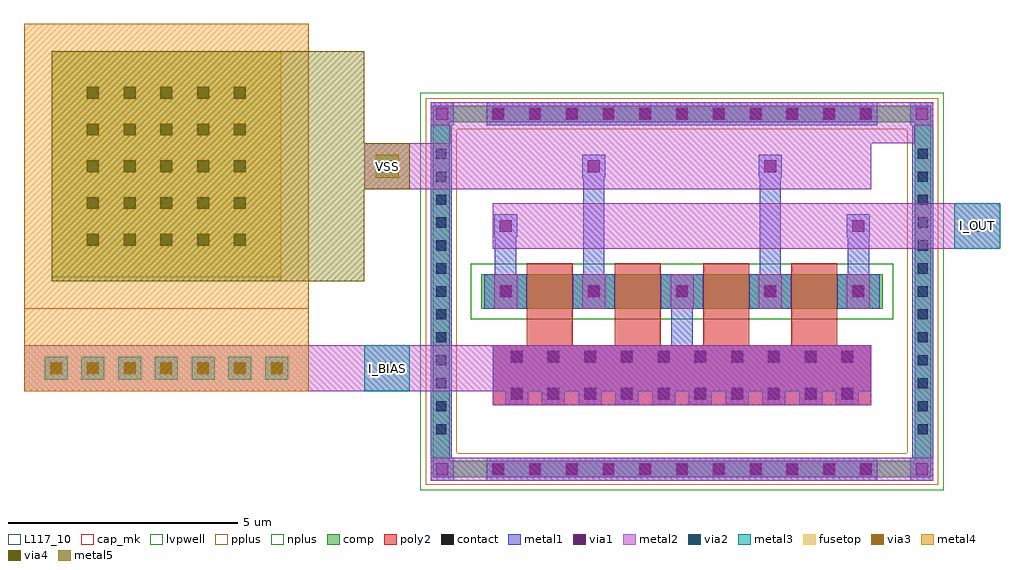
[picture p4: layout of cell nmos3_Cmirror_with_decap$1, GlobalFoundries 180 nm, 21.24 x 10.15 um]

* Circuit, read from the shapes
.subckt nmos3_Cmirror_with_decap$1 I_BIAS I_OUT VSS
XM1 VSS I_BIAS I_OUT VSS nfet_03v3 w=0.75u l=1u m=2
XM2 I_BIAS I_BIAS VSS VSS nfet_03v3 w=0.75u l=1u m=2
XC3 VSS I_BIAS cap_mim_2f0fF c_width=5u c_length=5u
.ends

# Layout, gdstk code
import gdstk
lib = gdstk.Library(unit=1e-6, precision=1e-09)
def R(c, l, rs):  # rectangles x0, y0, x1, y1
    for r in rs: c.add(gdstk.rectangle(r[:2], r[2:], *l))
def A(c, l, x, y, w, h, nx, ny, dx, dy):  # array of equal rectangles
    R(c, l, [(x+i*dx, y+j*dy, x+i*dx+w, y+j*dy+h) for i in range(nx) for j in range(ny)])
def P(c, l, *ps):  # polygons
    for p in ps: c.add(gdstk.Polygon(p, *l))
comp = (22, 0)
poly2 = (30, 0)
pplus = (31, 0)
nplus = (32, 0)
contact = (33, 0)
metal1 = (34, 0)
via1 = (35, 0)
metal2 = (36, 0)
via2 = (38, 0)
via3 = (40, 0)
via4 = (41, 0)
metal3 = (42, 0)
metal4 = (46, 0)
fusetop = (75, 0)
metal5 = (81, 0)
cap_mk = (117, 5)
L117_10 = (117, 10)
lvpwell = (204, 0)

cmirror_interdigitized_3 = lib.new_cell('cmirror_interdigitized$3$1')
A(cmirror_interdigitized_3, comp, -4.18, -4.045, 0.36, 0.36, 11, 2, 0.8, 7.73)
A(cmirror_interdigitized_3, comp, -5.42, -3.18, 0.36, 0.36, 1, 13, 0, 0.5)
A(cmirror_interdigitized_3, comp, 5.06, -3.18, 0.36, 0.36, 1, 13, 0, 0.5)
R(cmirror_interdigitized_3, comp, [(-4.18,-4.045,4.18,-3.685), (-5.42,-3.18,-5.06,3.18), (5.06,-3.18,5.42,3.18), (-4.37,-0.375,4.37,0.375), (-4.18,3.685,4.18,4.045)])
P(cmirror_interdigitized_3, comp, [(-5.42,-4.045),(-5.42,-3.685),(5.06,-3.685),(5.06,3.685),(-5.06,3.685),(-5.06,-3.685),(-5.42,-3.685),(-5.42,4.045),(5.42,4.045),(5.42,-4.045)])
A(cmirror_interdigitized_3, poly2, -3.78, -2.405, 0.36, 0.36, 10, 2, 0.8, 0.8)
A(cmirror_interdigitized_3, poly2, -3.38, -1.18, 1, 0.565, 4, 1, 1.92, 0)
A(cmirror_interdigitized_3, poly2, -3.38, -0.615, 1, 1.23, 4, 1, 1.92, 0)
R(cmirror_interdigitized_3, poly2, [(-4.12,-2.475,4.12,-1.175)])
P(cmirror_interdigitized_3, pplus, [(-5.58,-4.205),(-5.58,-3.525),(4.9,-3.525),(4.9,3.525),(-4.9,3.525),(-4.9,-3.525),(-5.58,-3.525),(-5.58,4.205),(5.58,4.205),(5.58,-4.205)])
R(cmirror_interdigitized_3, nplus, [(-4.6,-0.605,4.6,0.605)])
A(cmirror_interdigitized_3, contact, -4.11, -3.975, 0.22, 0.22, 11, 2, 0.8, 7.73)
A(cmirror_interdigitized_3, contact, -5.35, -3.11, 0.22, 0.22, 1, 13, 0, 0.5)
A(cmirror_interdigitized_3, contact, 5.13, -3.11, 0.22, 0.22, 1, 13, 0, 0.5)
A(cmirror_interdigitized_3, contact, -3.71, -2.335, 0.22, 0.22, 10, 2, 0.8, 0.8)
A(cmirror_interdigitized_3, contact, -3.95, -0.11, 0.22, 0.22, 5, 1, 1.92, 0)
A(cmirror_interdigitized_3, metal1, -4.25, -4.115, 0.5, 0.5, 11, 2, 0.8, 7.73)
A(cmirror_interdigitized_3, metal1, -5.47, -3.23, 0.46, 0.46, 1, 13, 0, 0.5)
A(cmirror_interdigitized_3, metal1, 5.01, -3.23, 0.46, 0.46, 1, 13, 0, 0.5)
A(cmirror_interdigitized_3, metal1, -3.85, -2.475, 0.5, 0.5, 10, 2, 0.8, 0.8)
A(cmirror_interdigitized_3, metal1, -4.3, -0.375, 0.92, 0.75, 5, 1, 1.92, 0)
A(cmirror_interdigitized_3, metal1, -4.07, -0.23, 0.46, 0.46, 5, 1, 1.92, 0)
R(cmirror_interdigitized_3, metal1, [(-5.47,-4.115,-4.97,-3.615), (-5.47,-4.115,-4.97,-3.615), (-5.47,-4.115,-5.01,-3.685), (-4.25,-4.115,4.25,-3.615), (4.97,-4.115,5.47,-3.615), (4.97,-4.115,5.47,-3.615), (5.01,-4.115,5.47,-3.685), (-5.47,-3.685,-5.01,3.685), (5.01,-3.685,5.47,3.685), (-4.12,-2.175,4.12,-1.175), (-0.23,-1.175,0.23,-0.375), (-4.09,-0.25,-3.59,0.25), (-4.09,-0.25,-3.59,0.25), (-2.17,-0.25,-1.67,0.25), (-2.17,-0.25,-1.67,0.25), (-0.25,-0.25,0.25,0.25), (-0.25,-0.25,0.25,0.25), (1.67,-0.25,2.17,0.25), (1.67,-0.25,2.17,0.25), (3.59,-0.25,4.09,0.25), (3.59,-0.25,4.09,0.25), (-4.07,0.375,-3.61,1.675), (-2.15,0.375,-1.69,2.975), (1.69,0.375,2.15,2.975), (3.61,0.375,4.07,1.675), (-4.09,1.175,-3.59,1.675), (3.59,1.175,4.09,1.675), (-2.17,2.475,-1.67,2.975), (1.67,2.475,2.17,2.975), (-5.47,3.615,-4.97,4.115), (-5.47,3.615,-4.97,4.115), (-4.25,3.615,4.25,4.115), (4.97,3.615,5.47,4.115), (4.97,3.615,5.47,4.115), (-5.47,3.685,-5.01,4.115), (5.01,3.685,5.47,4.115)])
A(cmirror_interdigitized_3, via1, -4.13, -3.995, 0.26, 0.26, 11, 2, 0.8, 7.73)
A(cmirror_interdigitized_3, via1, -3.73, -2.355, 0.26, 0.26, 10, 2, 0.8, 0.8)
A(cmirror_interdigitized_3, via1, -3.97, -0.13, 0.26, 0.26, 5, 1, 1.92, 0)
R(cmirror_interdigitized_3, via1, [(-5.35,-3.995,-5.09,-3.735), (5.09,-3.995,5.35,-3.735), (-3.97,1.295,-3.71,1.555), (3.71,1.295,3.97,1.555), (-2.05,2.595,-1.79,2.855), (1.79,2.595,2.05,2.855), (-5.35,3.735,-5.09,3.995), (5.09,3.735,5.35,3.995)])
A(cmirror_interdigitized_3, metal2, -4.25, -4.115, 0.5, 0.5, 11, 2, 0.8, 7.73)
A(cmirror_interdigitized_3, metal2, -3.85, -2.475, 0.5, 0.5, 10, 2, 0.8, 0.8)
A(cmirror_interdigitized_3, metal2, -4.09, -0.375, 0.5, 0.75, 5, 1, 1.92, 0)
A(cmirror_interdigitized_3, metal2, -4.09, -0.25, 0.5, 0.5, 5, 1, 1.92, 0)
R(cmirror_interdigitized_3, metal2, [(-5.47,-4.115,-4.97,-3.615), (-5.47,-4.115,-4.97,-3.615), (-5.47,-4.115,-5.06,-3.615), (-5.06,-4.115,5.06,-3.615), (4.97,-4.115,5.47,-3.615), (4.97,-4.115,5.47,-3.615), (5.06,-4.115,5.47,-3.615), (-4.12,-2.475,4.12,-1.175), (-4.12,-2.175,4.12,-1.175), (-4.12,0.925,4.12,1.925), (-4.09,1.175,-3.59,1.675), (3.59,1.175,4.09,1.675), (-4.12,2.225,4.12,3.225), (-2.17,2.475,-1.67,2.975), (1.67,2.475,2.17,2.975), (-5.06,3.225,5.06,4.115), (-5.47,3.615,-4.97,4.115), (-5.47,3.615,-4.97,4.115), (-5.47,3.615,-5.06,4.115), (-5.06,3.615,5.06,4.115), (4.97,3.615,5.47,4.115), (4.97,3.615,5.47,4.115), (5.06,3.615,5.47,4.115)])
R(cmirror_interdigitized_3, lvpwell, [(-5.7,-4.325,5.7,4.325)])

via_array_6f2c13fe_4_2 = lib.new_cell('via_array_6f2c13fe$4$2')
R(via_array_6f2c13fe_4_2, metal2, [(-0.5,-0.5,0.5,0.5), (-0.25,-0.25,0.25,0.25)])
R(via_array_6f2c13fe_4_2, via2, [(-0.13,-0.13,0.13,0.13)])
R(via_array_6f2c13fe_4_2, metal3, [(-0.5,-0.5,0.5,0.5), (-0.25,-0.25,0.25,0.25)])

via_array_6f2c13fe_5_2 = lib.new_cell('via_array_6f2c13fe$5$2')
R(via_array_6f2c13fe_5_2, metal2, [(-0.5,-0.5,0.5,0.5), (-0.25,-0.25,0.25,0.25)])
R(via_array_6f2c13fe_5_2, via2, [(-0.13,-0.13,0.13,0.13)])
R(via_array_6f2c13fe_5_2, metal3, [(-0.5,-0.5,0.5,0.5), (-0.25,-0.25,0.25,0.25)])

via_array_3a42d9f3_2_2 = lib.new_cell('via_array_3a42d9f3$2$2')
R(via_array_3a42d9f3_2_2, metal2, [(-0.5,-0.5,0.5,0.5), (-0.25,-0.25,0.25,0.25)])
R(via_array_3a42d9f3_2_2, via2, [(-0.13,-0.13,0.13,0.13)])
R(via_array_3a42d9f3_2_2, via3, [(-0.13,-0.13,0.13,0.13)])
R(via_array_3a42d9f3_2_2, via4, [(-0.13,-0.13,0.13,0.13)])
R(via_array_3a42d9f3_2_2, metal3, [(-0.25,-0.25,0.25,0.25)])
R(via_array_3a42d9f3_2_2, metal4, [(-0.25,-0.25,0.25,0.25)])
R(via_array_3a42d9f3_2_2, metal5, [(-0.5,-0.5,0.5,0.5), (-0.25,-0.25,0.25,0.25)])

straight_route_4b9f22a6_ = lib.new_cell('straight_route_4b9f22a6$1')
R(straight_route_4b9f22a6_, metal2, [(-6.92,-2.175,-4.12,-1.175)])

straight_route_40c7a050_ = lib.new_cell('straight_route_40c7a050$1')
R(straight_route_40c7a050_, metal2, [(-4.12,0.925,5.92,1.925)])

straight_route_8525d99d_ = lib.new_cell('straight_route_8525d99d$1')
R(straight_route_8525d99d_, metal2, [(-6.92,2.225,-4.12,3.225)])

unnamed_34e3354a = lib.new_cell('Unnamed_34e3354a')
A(unnamed_34e3354a, via4, -1.73, -1.73, 0.26, 0.26, 5, 5, 0.8, 0.8)
R(unnamed_34e3354a, metal4, [(-3.1,-3.1,3.1,3.1)])
R(unnamed_34e3354a, fusetop, [(-2.5,-2.5,2.5,2.5)])
A(unnamed_34e3354a, metal5, -1.85, -1.85, 0.5, 0.5, 5, 5, 0.8, 0.8)
R(unnamed_34e3354a, metal5, [(-2.5,-2.5,2.5,2.5)])
R(unnamed_34e3354a, cap_mk, [(-3.1,-3.1,3.1,3.1)])
R(unnamed_34e3354a, L117_10, [(-2.5,-2.5,2.5,-2.4)])

straight_route_d4788f62_ = lib.new_cell('straight_route_d4788f62$1')
R(straight_route_d4788f62_, metal5, [(-8.72,0.225,-6.92,5.225)])

l_route_b498a5d1_1 = lib.new_cell('L_route_b498a5d1$1')
A(l_route_b498a5d1_1, metal2, -13.87, -1.925, 0.5, 0.5, 7, 1, 0.8, 0)
R(l_route_b498a5d1_1, metal2, [(-14.32,-2.175,-6.92,-1.175), (-13.87,-1.925,-8.57,-1.425)])
A(l_route_b498a5d1_1, via2, -13.75, -1.805, 0.26, 0.26, 7, 1, 0.8, 0)
A(l_route_b498a5d1_1, via3, -13.75, -1.805, 0.26, 0.26, 7, 1, 0.8, 0)
A(l_route_b498a5d1_1, metal3, -13.87, -1.925, 0.5, 0.5, 7, 1, 0.8, 0)
A(l_route_b498a5d1_1, metal4, -13.87, -1.925, 0.5, 0.5, 7, 1, 0.8, 0)
R(l_route_b498a5d1_1, metal4, [(-14.32,-2.175,-8.12,-1.175), (-14.32,-2.175,-8.12,-0.375)])

nmos3_cmirror_with_decap = lib.new_cell('nmos3_Cmirror_with_decap$1')
nmos3_cmirror_with_decap.add(gdstk.Reference(cmirror_interdigitized_3, (0,0)))
nmos3_cmirror_with_decap.add(gdstk.Reference(via_array_6f2c13fe_4_2, (-6.42,-1.675)))
nmos3_cmirror_with_decap.add(gdstk.Reference(via_array_6f2c13fe_5_2, (6.42,1.425)))
nmos3_cmirror_with_decap.add(gdstk.Reference(via_array_3a42d9f3_2_2, (-6.42,2.725)))
nmos3_cmirror_with_decap.add(gdstk.Reference(straight_route_4b9f22a6_, (0,0)))
nmos3_cmirror_with_decap.add(gdstk.Reference(straight_route_40c7a050_, (0,0)))
nmos3_cmirror_with_decap.add(gdstk.Reference(straight_route_8525d99d_, (0,0)))
nmos3_cmirror_with_decap.add(gdstk.Reference(unnamed_34e3354a, (-11.22,2.725)))
nmos3_cmirror_with_decap.add(gdstk.Reference(straight_route_d4788f62_, (0,0)))
nmos3_cmirror_with_decap.add(gdstk.Reference(l_route_b498a5d1_1, (0,0)))
nmos3_cmirror_with_decap.add(gdstk.Label('I_BIAS', (-6.42,-1.675), layer=42, texttype=10))
nmos3_cmirror_with_decap.add(gdstk.Label('I_OUT', (6.42,1.425), layer=42, texttype=10))
nmos3_cmirror_with_decap.add(gdstk.Label('VSS', (-6.42,2.725), layer=81, texttype=10))

lib.write_gds('nmos3_Cmirror_with_decap_1.gds')
